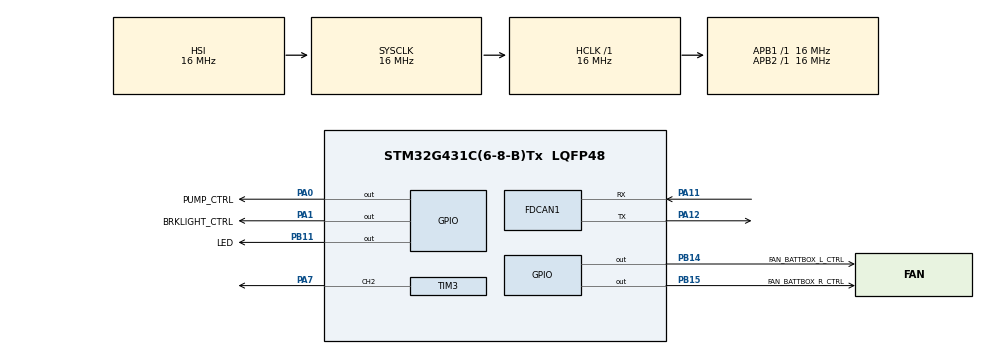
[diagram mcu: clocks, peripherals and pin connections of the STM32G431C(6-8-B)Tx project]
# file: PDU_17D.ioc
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FDCAN1.CalculateBaudRateNominal=1000000
FDCAN1.CalculateTimeBitNominal=1000
FDCAN1.CalculateTimeQuantumNominal=50.0
FDCAN1.DataSyncJumpWidth=3
FDCAN1.DataTimeSeg1=16
FDCAN1.DataTimeSeg2=3
FDCAN1.ExtFiltersNbr=0
FDCAN1.NominalPrescaler=1
FDCAN1.NominalSyncJumpWidth=3
FDCAN1.NominalTimeSeg1=16
FDCAN1.NominalTimeSeg2=3
FDCAN1.StdFiltersNbr=1
Mcu.Family=STM32G4
Mcu.Name=STM32G431C(6-8-B)Tx
Mcu.Package=LQFP48
NVIC.FDCAN1_IT0_IRQn=true\:0\:0\:false\:false\:true\:true\:true\:true
NVIC.PriorityGroup=NVIC_PRIORITYGROUP_4
NVIC.TIM4_IRQn=true\:0\:0\:false\:false\:true\:true\:true\:true
PA0.GPIO_Label=PUMP_CTRL
PA0.Signal=GPIO_Output
PA1.GPIO_Label=BRKLIGHT_CTRL
PA1.Signal=GPIO_Output
PA11.Mode=FDCAN_Activate
PA11.Signal=FDCAN1_RX
PA12.Mode=FDCAN_Activate
PA12.Signal=FDCAN1_TX
PA13.Mode=Trace_Asynchronous_SW
PA13.Signal=SYS_JTMS-SWDIO
PA14.Mode=Trace_Asynchronous_SW
PA14.Signal=SYS_JTCK-SWCLK
PA7.Signal=S_TIM3_CH2
PB11.GPIO_Label=LED
PB11.Signal=GPIO_Output
PB14.GPIO_Label=FAN_BATTBOX_L_CTRL
PB14.Signal=GPIO_Output
PB15.GPIO_Label=FAN_BATTBOX_R_CTRL
PB15.Signal=GPIO_Output
PB3.Mode=Trace_Asynchronous_SW
PB3.Signal=SYS_JTDO-SWO
ProjectManager.HeapSize=0x200
ProjectManager.StackSize=0x400
ProjectManager.TargetToolchain=STM32CubeIDE
RCC.AHBFreq_Value=16000000
RCC.APB1Freq_Value=16000000
RCC.APB1TimFreq_Value=16000000
RCC.APB2Freq_Value=16000000
RCC.APB2TimFreq_Value=16000000
RCC.CortexFreq_Value=16000000
RCC.EXTERNAL_CLOCK_VALUE=12288000
RCC.FDCANCLockSelection=RCC_FDCANCLKSOURCE_PLL
RCC.HCLKFreq_Value=16000000
RCC.HSE_VALUE=8000000
RCC.HSI48_VALUE=48000000
RCC.HSI_VALUE=16000000
RCC.LSE_VALUE=32768
RCC.PLLN=10
RCC.PLLQ=RCC_PLLQ_DIV8
RCC.SYSCLKFreq_VALUE=16000000
RCC.USBFreq_Value=20000000
RCC.VCOOutputFreq_Value=160000000
SH.S_TIM3_CH2.0=TIM3_CH2,PWM Generation2 CH2
TIM1.PeriodNoDither=1600-1
TIM1.TIM_MasterOutputTrigger=TIM_TRGO_UPDATE
TIM1.TIM_MasterOutputTrigger2=TIM_TRGO2_UPDATE
TIM3.AutoReloadPreload=TIM_AUTORELOAD_PRELOAD_ENABLE
TIM3.Channel-PWM\ Generation2\ CH2=TIM_CHANNEL_2
TIM4.PeriodNoDither=1280-1
TIM4.Prescaler=100-1
TIM4.TIM_MasterOutputTrigger=TIM_TRGO_UPDATE
VP_TIM1_VS_ClockSourceINT.Mode=Internal
VP_TIM3_VS_ClockSourceINT.Mode=Internal
VP_TIM4_VS_ClockSourceINT.Mode=Internal
board=custom

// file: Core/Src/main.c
/* USER CODE BEGIN Header */
/**
  ******************************************************************************
  * @file           : main.c
  * @brief          : Main program body
  ******************************************************************************
  * @attention
  *
  * Copyright (c) 2023 STMicroelectronics.
  * All rights reserved.
  *
  * This software is licensed under terms that can be found in the LICENSE file
  * in the root directory of this software component.
  * If no LICENSE file comes with this software, it is provided AS-IS.
  *
  ******************************************************************************
  */
/* USER CODE END Header */
#include "main.h"

FDCAN_HandleTypeDef hfdcan1;

TIM_HandleTypeDef htim1;
TIM_HandleTypeDef htim3;
TIM_HandleTypeDef htim4;

/* USER CODE BEGIN PV */
FDCAN_RxHeaderTypeDef RxHeader;
uint8_t RxData[8];
/* USER CODE END PV */

void SystemClock_Config(void);
static void MX_GPIO_Init(void);
static void MX_FDCAN1_Init(void);
static void MX_TIM1_Init(void);
static void MX_TIM4_Init(void);
static void MX_TIM3_Init(void);
/* USER CODE BEGIN PFP */
static void FDCAN_Config(void);
/* USER CODE END PFP */

/* USER CODE BEGIN 0 */
uint8_t pineapple = 0x01;
/* USER CODE END 0 */

int main(void)
{

  /* MCU Configuration--------------------------------------------------------*/

  /* Reset of all peripherals, Initializes the Flash interface and the Systick. */
  HAL_Init();

  /* Configure the system clock */
  SystemClock_Config();

  /* Initialize all configured peripherals */
  MX_GPIO_Init();
  MX_FDCAN1_Init();
  MX_TIM1_Init();
  MX_TIM4_Init();
  MX_TIM3_Init();
  /* USER CODE BEGIN 2 */
  FDCAN_Config();

  //Starting timers
  HAL_TIM_Base_Start_IT(&htim1);
  HAL_TIM_Base_Start_IT(&htim4);
  HAL_TIM_Base_Start_IT(&htim3);

  HAL_TIM_PWM_Start(&htim3, TIM_CHANNEL_2);

  //Starting DMA
  //HAL_ADC_Start_DMA(&hadc2, (uint32_t*)AdcResults, ADC_BUF_LEN);

  /* USER CODE END 2 */

  /* Infinite loop */
  /* USER CODE BEGIN WHILE */
  while (pineapple)
  {
	  //PWM code starts
	  uint16_t CAN_fan_dutycycle = RxData[4];
	  CAN_fan_dutycycle = ((CAN_fan_dutycycle)*256)+255;

	  if (CAN_fan_dutycycle < 6555){
		  TIM3->CCR2 = 0;
	  } else {
		  TIM3->CCR2 = CAN_fan_dutycycle;
	  }
	  //PWM code ends

	  // Relay Code Begins
	  if (RxData[0]){
		  HAL_GPIO_WritePin(GPIOA, BRKLIGHT_CTRL_Pin , GPIO_PIN_SET); //Brklight = PA1
	  } else {
		  HAL_GPIO_WritePin(GPIOA, BRKLIGHT_CTRL_Pin , GPIO_PIN_RESET);
	  }

	  if (RxData[1]){
		  HAL_GPIO_WritePin(GPIOA, PUMP_CTRL_Pin , GPIO_PIN_SET); //Pump = PIN_A0
	  } else {
		  HAL_GPIO_WritePin(GPIOA, PUMP_CTRL_Pin , GPIO_PIN_RESET);
  	  }

	  if (RxData[2]){
		  HAL_GPIO_WritePin(GPIOB, FAN_BATTBOX_L_CTRL_Pin , GPIO_PIN_SET); //Fan bb left = PB14
	  } else {
		  HAL_GPIO_WritePin(GPIOB, FAN_BATTBOX_L_CTRL_Pin , GPIO_PIN_RESET);
	  }

	  if (RxData[3]){
		  HAL_GPIO_WritePin(GPIOB, FAN_BATTBOX_R_CTRL_Pin , GPIO_PIN_SET); //Fan bb right = PB15
	  } else {
		  HAL_GPIO_WritePin(GPIOB, FAN_BATTBOX_L_CTRL_Pin , GPIO_PIN_RESET);
	  }
	  // Relay Code Ends

	  //debug LED
	  /*if (RxData[0]){
		  HAL_GPIO_WritePin(GPIOB, LED_Pin , GPIO_PIN_SET); //LED = PB11
	  } else {
		  HAL_GPIO_WritePin(GPIOB, LED_Pin , GPIO_PIN_RESET);
	  }*/
  }
  /* USER CODE END 3 */
}

void SystemClock_Config(void)
{
  RCC_OscInitTypeDef RCC_OscInitStruct = {0};
  RCC_ClkInitTypeDef RCC_ClkInitStruct = {0};

  /** Configure the main internal regulator output voltage
  */
  HAL_PWREx_ControlVoltageScaling(PWR_REGULATOR_VOLTAGE_SCALE1);

  /** Initializes the RCC Oscillators according to the specified parameters
  * in the RCC_OscInitTypeDef structure.
  */
  RCC_OscInitStruct.OscillatorType = RCC_OSCILLATORTYPE_HSI;
  RCC_OscInitStruct.HSIState = RCC_HSI_ON;
  RCC_OscInitStruct.HSICalibrationValue = RCC_HSICALIBRATION_DEFAULT;
  RCC_OscInitStruct.PLL.PLLState = RCC_PLL_ON;
  RCC_OscInitStruct.PLL.PLLSource = RCC_PLLSOURCE_HSI;
  RCC_OscInitStruct.PLL.PLLM = RCC_PLLM_DIV1;
  RCC_OscInitStruct.PLL.PLLN = 10;
  RCC_OscInitStruct.PLL.PLLP = RCC_PLLP_DIV2;
  RCC_OscInitStruct.PLL.PLLQ = RCC_PLLQ_DIV8;
  RCC_OscInitStruct.PLL.PLLR = RCC_PLLR_DIV2;
  if (HAL_RCC_OscConfig(&RCC_OscInitStruct) != HAL_OK)
  {
    Error_Handler();
  }

  /** Initializes the CPU, AHB and APB buses clocks
  */
  RCC_ClkInitStruct.ClockType = RCC_CLOCKTYPE_HCLK|RCC_CLOCKTYPE_SYSCLK
                              |RCC_CLOCKTYPE_PCLK1|RCC_CLOCKTYPE_PCLK2;
  RCC_ClkInitStruct.SYSCLKSource = RCC_SYSCLKSOURCE_HSI;
  RCC_ClkInitStruct.AHBCLKDivider = RCC_SYSCLK_DIV1;
  RCC_ClkInitStruct.APB1CLKDivider = RCC_HCLK_DIV1;
  RCC_ClkInitStruct.APB2CLKDivider = RCC_HCLK_DIV1;

  if (HAL_RCC_ClockConfig(&RCC_ClkInitStruct, FLASH_LATENCY_0) != HAL_OK)
  {
    Error_Handler();
  }
}

static void MX_FDCAN1_Init(void)
{

  /* USER CODE BEGIN FDCAN1_Init 0 */
	/* FDCAN1 interrupt Init */
	//HAL_NVIC_SetPriority(FDCAN1_IT0_IRQn, 0, 0);
	//HAL_NVIC_EnableIRQ(FDCAN1_IT0_IRQn);
	//https://community.st.com/s/question/0D53W00000YwmXTSAZ/fdcan-callback-function-is-not-called
  /* USER CODE END FDCAN1_Init 0 */

  hfdcan1.Instance = FDCAN1;
  hfdcan1.Init.ClockDivider = FDCAN_CLOCK_DIV1;
  hfdcan1.Init.FrameFormat = FDCAN_FRAME_CLASSIC;
  hfdcan1.Init.Mode = FDCAN_MODE_NORMAL;
  hfdcan1.Init.AutoRetransmission = DISABLE;
  hfdcan1.Init.TransmitPause = DISABLE;
  hfdcan1.Init.ProtocolException = DISABLE;
  hfdcan1.Init.NominalPrescaler = 1;
  hfdcan1.Init.NominalSyncJumpWidth = 3;
  hfdcan1.Init.NominalTimeSeg1 = 16;
  hfdcan1.Init.NominalTimeSeg2 = 3;
  hfdcan1.Init.DataPrescaler = 1;
  hfdcan1.Init.DataSyncJumpWidth = 3;
  hfdcan1.Init.DataTimeSeg1 = 16;
  hfdcan1.Init.DataTimeSeg2 = 3;
  hfdcan1.Init.StdFiltersNbr = 1;
  hfdcan1.Init.ExtFiltersNbr = 0;
  hfdcan1.Init.TxFifoQueueMode = FDCAN_TX_FIFO_OPERATION;
  if (HAL_FDCAN_Init(&hfdcan1) != HAL_OK)
  {
    Error_Handler();
  }

}

static void MX_TIM1_Init(void)
{

  TIM_ClockConfigTypeDef sClockSourceConfig = {0};
  TIM_MasterConfigTypeDef sMasterConfig = {0};

  htim1.Instance = TIM1;
  htim1.Init.Prescaler = 0;
  htim1.Init.CounterMode = TIM_COUNTERMODE_UP;
  htim1.Init.Period = 1599;
  htim1.Init.ClockDivision = TIM_CLOCKDIVISION_DIV1;
  htim1.Init.RepetitionCounter = 0;
  htim1.Init.AutoReloadPreload = TIM_AUTORELOAD_PRELOAD_DISABLE;
  if (HAL_TIM_Base_Init(&htim1) != HAL_OK)
  {
    Error_Handler();
  }
  sClockSourceConfig.ClockSource = TIM_CLOCKSOURCE_INTERNAL;
  if (HAL_TIM_ConfigClockSource(&htim1, &sClockSourceConfig) != HAL_OK)
  {
    Error_Handler();
  }
  sMasterConfig.MasterOutputTrigger = TIM_TRGO_UPDATE;
  sMasterConfig.MasterOutputTrigger2 = TIM_TRGO2_UPDATE;
  sMasterConfig.MasterSlaveMode = TIM_MASTERSLAVEMODE_DISABLE;
  if (HAL_TIMEx_MasterConfigSynchronization(&htim1, &sMasterConfig) != HAL_OK)
  {
    Error_Handler();
  }

}

static void MX_TIM3_Init(void)
{

  TIM_ClockConfigTypeDef sClockSourceConfig = {0};
  TIM_MasterConfigTypeDef sMasterConfig = {0};
  TIM_OC_InitTypeDef sConfigOC = {0};

  htim3.Instance = TIM3;
  htim3.Init.Prescaler = 0;
  htim3.Init.CounterMode = TIM_COUNTERMODE_UP;
  htim3.Init.Period = 65535;
  htim3.Init.ClockDivision = TIM_CLOCKDIVISION_DIV1;
  htim3.Init.AutoReloadPreload = TIM_AUTORELOAD_PRELOAD_ENABLE;
  if (HAL_TIM_Base_Init(&htim3) != HAL_OK)
  {
    Error_Handler();
  }
  sClockSourceConfig.ClockSource = TIM_CLOCKSOURCE_INTERNAL;
  if (HAL_TIM_ConfigClockSource(&htim3, &sClockSourceConfig) != HAL_OK)
  {
    Error_Handler();
  }
  if (HAL_TIM_PWM_Init(&htim3) != HAL_OK)
  {
    Error_Handler();
  }
  sMasterConfig.MasterOutputTrigger = TIM_TRGO_RESET;
  sMasterConfig.MasterSlaveMode = TIM_MASTERSLAVEMODE_DISABLE;
  if (HAL_TIMEx_MasterConfigSynchronization(&htim3, &sMasterConfig) != HAL_OK)
  {
    Error_Handler();
  }
  sConfigOC.OCMode = TIM_OCMODE_PWM1;
  sConfigOC.Pulse = 0;
  sConfigOC.OCPolarity = TIM_OCPOLARITY_HIGH;
  sConfigOC.OCFastMode = TIM_OCFAST_DISABLE;
  if (HAL_TIM_PWM_ConfigChannel(&htim3, &sConfigOC, TIM_CHANNEL_2) != HAL_OK)
  {
    Error_Handler();
  }
  HAL_TIM_MspPostInit(&htim3);

}

static void MX_TIM4_Init(void)
{

  TIM_ClockConfigTypeDef sClockSourceConfig = {0};
  TIM_MasterConfigTypeDef sMasterConfig = {0};

  htim4.Instance = TIM4;
  htim4.Init.Prescaler = 100-1;
  htim4.Init.CounterMode = TIM_COUNTERMODE_UP;
  htim4.Init.Period = 1279;
  htim4.Init.ClockDivision = TIM_CLOCKDIVISION_DIV1;
  htim4.Init.AutoReloadPreload = TIM_AUTORELOAD_PRELOAD_DISABLE;
  if (HAL_TIM_Base_Init(&htim4) != HAL_OK)
  {
    Error_Handler();
  }
  sClockSourceConfig.ClockSource = TIM_CLOCKSOURCE_INTERNAL;
  if (HAL_TIM_ConfigClockSource(&htim4, &sClockSourceConfig) != HAL_OK)
  {
    Error_Handler();
  }
  sMasterConfig.MasterOutputTrigger = TIM_TRGO_UPDATE;
  sMasterConfig.MasterSlaveMode = TIM_MASTERSLAVEMODE_DISABLE;
  if (HAL_TIMEx_MasterConfigSynchronization(&htim4, &sMasterConfig) != HAL_OK)
  {
    Error_Handler();
  }

}

static void MX_GPIO_Init(void)
{
  GPIO_InitTypeDef GPIO_InitStruct = {0};

  /* GPIO Ports Clock Enable */
  __HAL_RCC_GPIOA_CLK_ENABLE();
  __HAL_RCC_GPIOB_CLK_ENABLE();

  /*Configure GPIO pin Output Level */
  HAL_GPIO_WritePin(GPIOA, PUMP_CTRL_Pin|BRKLIGHT_CTRL_Pin, GPIO_PIN_RESET);

  /*Configure GPIO pin Output Level */
  HAL_GPIO_WritePin(GPIOB, LED_Pin|FAN_BATTBOX_L_CTRL_Pin|FAN_BATTBOX_R_CTRL_Pin, GPIO_PIN_RESET);

  /*Configure GPIO pins : PUMP_CTRL_Pin BRKLIGHT_CTRL_Pin */
  GPIO_InitStruct.Pin = PUMP_CTRL_Pin|BRKLIGHT_CTRL_Pin;
  GPIO_InitStruct.Mode = GPIO_MODE_OUTPUT_PP;
  GPIO_InitStruct.Pull = GPIO_NOPULL;
  GPIO_InitStruct.Speed = GPIO_SPEED_FREQ_LOW;
  HAL_GPIO_Init(GPIOA, &GPIO_InitStruct);

  /*Configure GPIO pins : LED_Pin FAN_BATTBOX_L_CTRL_Pin FAN_BATTBOX_R_CTRL_Pin */
  GPIO_InitStruct.Pin = LED_Pin|FAN_BATTBOX_L_CTRL_Pin|FAN_BATTBOX_R_CTRL_Pin;
  GPIO_InitStruct.Mode = GPIO_MODE_OUTPUT_PP;
  GPIO_InitStruct.Pull = GPIO_NOPULL;
  GPIO_InitStruct.Speed = GPIO_SPEED_FREQ_LOW;
  HAL_GPIO_Init(GPIOB, &GPIO_InitStruct);

}

/* USER CODE BEGIN 4 */

/**
  * @brief  Configures the FDCAN.
  * @param  None
  * @retval None
  */
static void FDCAN_Config(void)
{
  FDCAN_FilterTypeDef sFilterConfig;

  /* Configure Rx filter */
  sFilterConfig.IdType = FDCAN_STANDARD_ID;
  sFilterConfig.FilterIndex = 0;
  sFilterConfig.FilterType = FDCAN_FILTER_MASK;
  sFilterConfig.FilterConfig = FDCAN_FILTER_TO_RXFIFO0;
  sFilterConfig.FilterID1 = 0x666; //filter: 0b10000000000 standard 11-bit ID
  sFilterConfig.FilterID2 = 0x7FF; //0x7FF; //Filter Mask: 0b11111111111 to check all 11 bits of incoming message against filter
  //Check this out: https://schulz-m.github.io/2017/03/23/stm32-can-id-filter/
  //Also: https://community.st.com/s/question/0D53W00000YwmXTSAZ/fdcan-callback-function-is-not-called
  if (HAL_FDCAN_ConfigFilter(&hfdcan1, &sFilterConfig) != HAL_OK)
  {
    Error_Handler();
  }

  /* Configure global filter:
     Filter all remote frames with STD and EXT ID
     Reject non matching frames with STD ID and EXT ID */
  if (HAL_FDCAN_ConfigGlobalFilter(&hfdcan1, FDCAN_REJECT, FDCAN_REJECT, FDCAN_FILTER_REMOTE, FDCAN_FILTER_REMOTE) != HAL_OK)
  {
    Error_Handler();
  }

  /* Start the FDCAN module */
  if (HAL_FDCAN_Start(&hfdcan1) != HAL_OK)
  {
    Error_Handler();
  }

  if (HAL_FDCAN_ActivateNotification(&hfdcan1, FDCAN_IT_RX_FIFO0_NEW_MESSAGE, 0) != HAL_OK)
  {
    Error_Handler();
  }

}

/**
  * @brief  Rx FIFO 0 callback.
  * @param  hfdcan: pointer to an FDCAN_HandleTypeDef structure that contains
  *         the configuration information for the specified FDCAN.
  * @param  RxFifo0ITs: indicates which Rx FIFO 0 interrupts are signalled.
  *         This parameter can be any combination of @arg FDCAN_Rx_Fifo0_Interrupts.
  * @retval None
  */
void HAL_FDCAN_RxFifo0Callback(FDCAN_HandleTypeDef *hfdcan, uint32_t RxFifo0ITs)
//Do we need this at all for this board? I guess we could use this for immediately activating relays & such
{
 //HAL_GPIO_WritePin(GPIOB, GPIO_PIN_11, GPIO_PIN_SET);
  if((RxFifo0ITs & FDCAN_IT_RX_FIFO0_NEW_MESSAGE) != RESET)
  {
    /* Retrieve Rx messages from RX FIFO0 */
    if (HAL_FDCAN_GetRxMessage(hfdcan, FDCAN_RX_FIFO0, &RxHeader, RxData) != HAL_OK)
    {
    Error_Handler();
    }

    /* Display LEDx */
    /*if ((RxHeader.Identifier == 0x321) && (RxHeader.IdType == FDCAN_STANDARD_ID) && (RxHeader.DataLength == FDCAN_DLC_BYTES_2))
    {
      LED_Display(RxData[0]);
      ubKeyNumber = RxData[0];
    }
    */
  }
}

/**
  * @brief  Turns ON/OFF the dedicated LED.
  * @param  LedStatus: LED number from 1 to 4
  * @retval None
  */
//ADC Callback function
/*void HAL_ADC_ConvCpltCallback(ADC_HandleTypeDef* hadc2)
{
	UNUSED(hadc2); //is this functionally important?
	HAL_GPIO_TogglePin(GPIOC, GPIO_PIN_13);
	//HAL_GPIO_WritePin(port, pinname, GPIO_PIN_SET);
	//asm("nop");
	//HAL_GPIO_WrtiePin(port, pinname, GPIO_PIN_RESET);
}*/

//updates the CAN TX FIFO precisely every 8ms
/*void HAL_TIM_PeriodElapsedCallback(TIM_HandleTypeDef *htim)
{
	//Checks that the interrupt was generated by clock 4
	if(htim == &htim4)
	{
		//Adds another message to the CAN FIFO every 8ms
		//HAL_FDCAN_AddMessageToTxFifoQ(&hfdcan1, &TxHeader, TxData);
	}
	if(htim == &htim1)
	{
		//HAL_GPIO_TogglePin(GPIOC, GPIO_PIN_13);
	}
}*/

/* USER CODE END 4 */

void Error_Handler(void)
{
  __disable_irq();
  while (1)
  {
  }
}
